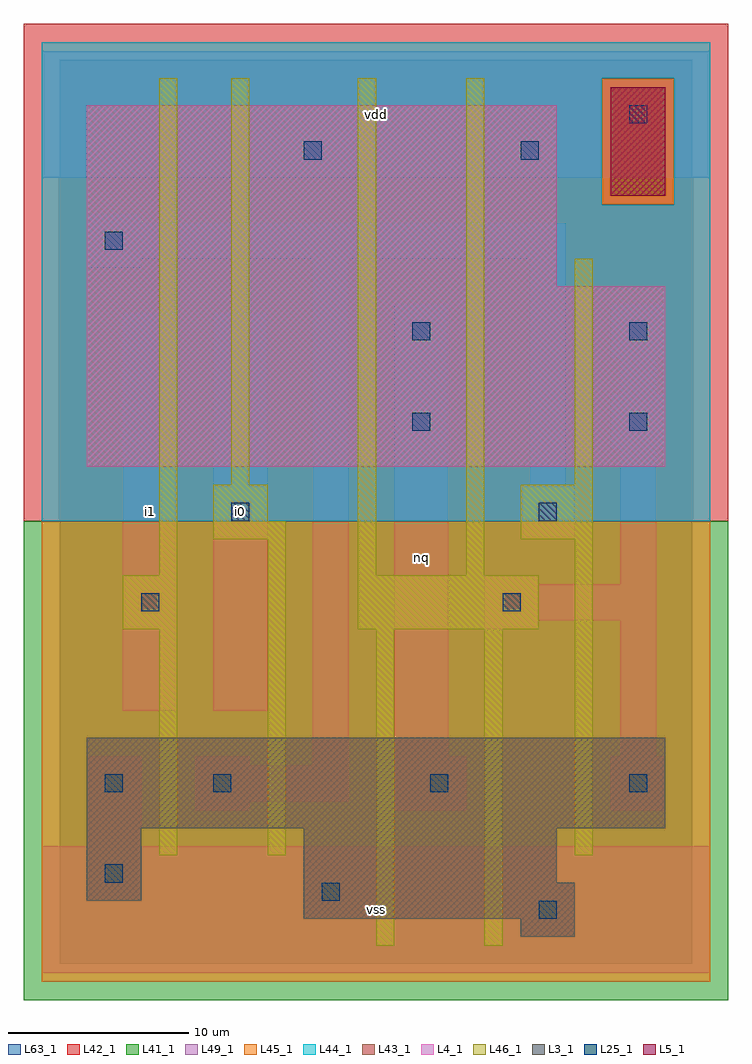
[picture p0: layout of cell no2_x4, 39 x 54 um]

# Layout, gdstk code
import gdstk
lib = gdstk.Library(unit=1e-6, precision=1e-09)
def R(c, l, rs):  # rectangles x0, y0, x1, y1
    for r in rs: c.add(gdstk.rectangle(r[:2], r[2:], *l))
L3_1 = (3, 1)
L4_1 = (4, 1)
L5_1 = (5, 1)
L25_1 = (25, 1)
L41_1 = (41, 1)
L42_1 = (42, 1)
L43_1 = (43, 1)
L44_1 = (44, 1)
L45_1 = (45, 1)
L46_1 = (46, 1)
L49_1 = (49, 1)
L63_1 = (63, 1)

no2_x4 = lib.new_cell('no2_x4')
R(no2_x4, L3_1, [(25.5,1.5,28.5,2.5), (13.5,2.5,28.5,4.5), (1.5,3.5,4.5,7.5), (13.5,4.5,27.5,7.5), (1.5,7.5,33.5,12.5)])
R(no2_x4, L4_1, [(1.5,27.5,33.5,37.5), (1.5,37.5,27.5,47.5)])
R(no2_x4, L5_1, [(30.5,42.5,33.5,48.5)])
R(no2_x4, L25_1, [(26.5,2.5,27.5,3.5), (14.5,3.5,15.5,4.5), (2.5,4.5,3.5,5.5), (2.5,9.5,3.5,10.5), (8.5,9.5,9.5,10.5), (20.5,9.5,21.5,10.5), (31.5,9.5,32.5,10.5), (4.5,19.5,5.5,20.5), (24.5,19.5,25.5,20.5), (9.5,24.5,10.5,25.5), (26.5,24.5,27.5,25.5), (19.5,29.5,20.5,30.5), (31.5,29.5,32.5,30.5), (19.5,34.5,20.5,35.5), (31.5,34.5,32.5,35.5), (2.5,39.5,3.5,40.5), (13.5,44.5,14.5,45.5), (25.5,44.5,26.5,45.5), (31.5,46.5,32.5,47.5)])
R(no2_x4, L41_1, [(-2,-2,37,24.5)])
R(no2_x4, L42_1, [(-2,24.5,37,52)])
R(no2_x4, L43_1, [(25.5,1.5,28.5,2.5), (13.5,2.5,28.5,4.5), (1.5,3.5,4.5,7.5), (13.5,4.5,27.5,7.5), (1.5,7.5,33.5,12.5), (1.5,27.5,33.5,37.5), (1.5,37.5,27.5,47.5), (30.5,42.5,33.5,48.5)])
R(no2_x4, L44_1, [(-1,24.5,36,42), (-1,42,30,49), (34,42,36,49), (-1,49,36,51)])
R(no2_x4, L45_1, [(-1,-1,36,24.5), (30,42,34,49)])
R(no2_x4, L46_1, [(17.5,1,18.5,18.5), (23.5,1,24.5,18.5), (5.5,6,6.5,18.5), (11.5,6,12.5,23.5), (28.5,6,29.5,23.5), (3.5,18.5,6.5,21.5), (16.5,18.5,26.5,21.5), (5.5,21.5,6.5,49), (16.5,21.5,17.5,49), (22.5,21.5,23.5,49), (8.5,23.5,12.5,24.5), (25.5,23.5,29.5,26.5), (8.5,24.5,11.5,26.5), (9.5,26.5,10.5,49), (28.5,26.5,29.5,39)])
R(no2_x4, L49_1, [(-1,-0.5,36,6.5), (1.5,6.5,4.5,11.5), (7.5,8.5,10.5,9), (18.5,8.5,22.5,11.5), (30.5,8.5,33.5,11.5), (7.5,9,16,11), (7.5,11,10.5,11.5), (14,11,16,39), (18.5,11.5,21.5,36.5), (31,11.5,33,19), (3.5,14,6.5,36), (8.5,14,11.5,36), (23.5,18.5,26.5,19), (23.5,19,33,21), (23.5,21,26.5,21.5), (31,21,33,28.5), (25.5,23.5,28.5,26.5), (26,26.5,28,39), (30.5,28.5,33.5,31.5), (31,31.5,33,33.5), (30.5,33.5,33.5,36.5), (1.5,38.5,4.5,39), (1.5,39,28,41), (1.5,41,4.5,41.5), (-1,43.5,36,50.5)])
R(no2_x4, L63_1, [(0,0,35,50)])
no2_x4.add(gdstk.Label('i1', (5,25), layer=49, texttype=1))
no2_x4.add(gdstk.Label('i1', (5,25), layer=49, texttype=1))
no2_x4.add(gdstk.Label('i0', (10,25), layer=49, texttype=1))
no2_x4.add(gdstk.Label('i0', (10,25), layer=49, texttype=1))
no2_x4.add(gdstk.Label('vss', (17.5,3), layer=49, texttype=1))
no2_x4.add(gdstk.Label('vss', (17.5,3), layer=49, texttype=1))
no2_x4.add(gdstk.Label('nq', (20,22.5), layer=49, texttype=1))
no2_x4.add(gdstk.Label('nq', (20,22.5), layer=49, texttype=1))
no2_x4.add(gdstk.Label('vdd', (17.5,47), layer=49, texttype=1))
no2_x4.add(gdstk.Label('vdd', (17.5,47), layer=49, texttype=1))

lib.write_gds('no2_x4.gds')
